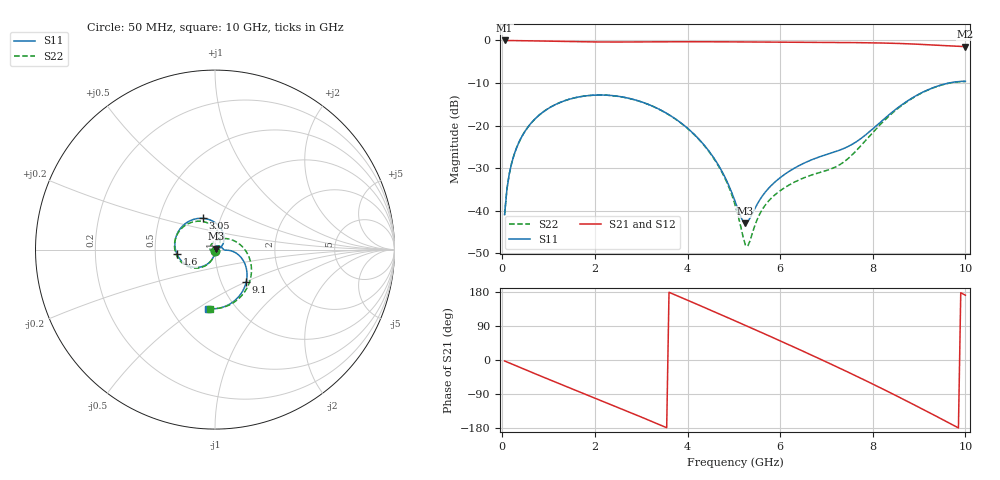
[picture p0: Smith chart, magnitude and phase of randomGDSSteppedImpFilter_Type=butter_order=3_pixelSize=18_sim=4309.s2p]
! freq	dB(S11)	phase(S11)	dB(S12)	phase(S12)
!  dB(S21)	phase(S21)	dB(S22)	phase(S22)
!S-par simulation data
#  GHz  S  DB  R 50
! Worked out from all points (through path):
!   200 points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, 50 MHz to 10 GHz, reference 50 ohm
!   highest |S21| = 0.00 dB at 50 MHz (marker M1); lowest = -1.4 dB at 10 GHz (marker M2)
!   group delay of S21, straight-line fit = 151 ps
!   lowest |S11| = -42.9 dB at 5.25 GHz (marker M3), VSWR 1.01, Z = 50.4 + j0.591 ohm
!   |S11| at or under -10 dB: start of sweep to 9.645 GHz
!   |S22| runs from -48.3 to -9.6 dB; largest |S21 - S12| = 0
!   S11 on the Smith chart (normalised r, x): 50 MHz: 1.00, -0.02; 1.6 GHz: 0.65, -0.03; 3.05 GHz: 0.83, +0.30; 9.1 GHz: 1.31, -0.50; 10 GHz: 0.75, -0.55
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0.05  -40.92 -92.3  -0.00 -2.6  -0.00 -2.6  -40.92 -92.2
0.1  -34.91 -95.2  -0.01 -5.1  -0.01 -5.1  -34.91 -94.9
0.2  -28.92 -100.6  -0.02 -10.3  -0.02 -10.3  -28.92 -100.1
0.45  -22.05 -114.0  -0.06 -23.1  -0.06 -23.1  -22.05 -112.8
1.05  -15.61 -145.5  -0.19 -53.5  -0.19 -53.5  -15.62 -142.7
1.6  -13.39 -173.8  -0.30 -80.8  -0.30 -80.8  -13.39 -169.3
1.75  -13.10 178.6  -0.32 -88.2  -0.32 -88.2  -13.10 -176.5
2.4  -12.98 145.1  -0.37 -120.4  -0.37 -120.4  -12.99 152.6
3.05  -14.60 110.8  -0.34 -153.0  -0.34 -153.0  -14.62 121.8
3.4  -16.24 91.8  -0.32 -171.0  -0.32 -171.0  -16.26 105.2
3.9  -19.73 64.0  -0.30 163.0  -0.30 163.0  -19.77 81.6
4.45  -25.81 33.3  -0.31 134.0  -0.31 134.0  -25.92 55.7
5.05  -38.51 18.6  -0.34 102.1  -0.34 102.1  -39.47 17.2
5.25  -42.92 55.1  -0.35 91.3  -0.35 91.3  -48.08 -40.5
5.8  -34.16 74.1  -0.38 61.5  -0.38 61.5  -37.14 -142.0
6.7  -27.95 15.3  -0.44 11.7  -0.44 11.7  -31.54 -175.3
7.45  -25.01 -2.8  -0.49 -31.1  -0.49 -31.1  -27.91 108.5
7.95  -21.24 -3.9  -0.56 -60.5  -0.56 -60.5  -22.21 52.7
8.35  -17.46 -12.5  -0.64 -84.7  -0.64 -84.7  -17.78 18.2
9.1  -12.04 -45.8  -0.96 -131.3  -0.96 -131.3  -12.11 -35.9
9.55  -10.24 -70.6  -1.22 -159.9  -1.22 -159.9  -10.29 -65.8
10  -9.59 -97.2  -1.44 170.9  -1.44 170.9  -9.64 -95.1
